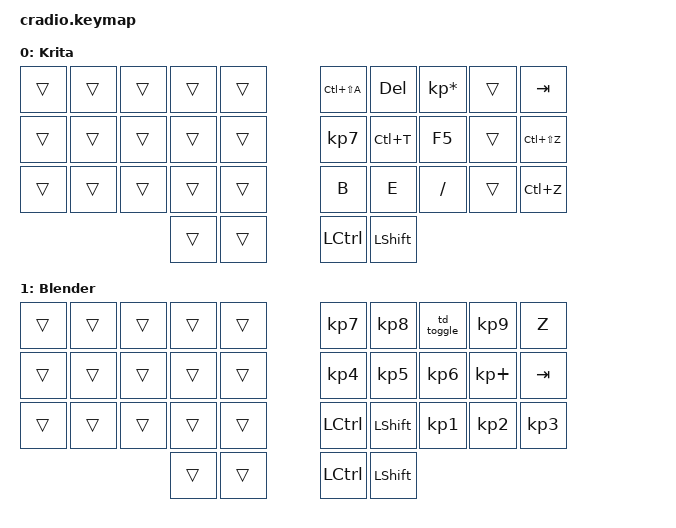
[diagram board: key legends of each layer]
// Copyright (c) 2022 The ZMK Contributors
// SPDX-License-Identifier: MIT

#include <behaviors.dtsi>
#include <dt-bindings/zmk/keys.h>
#include <dt-bindings/zmk/bt.h>

#define KRIT 0
#define BLND 1
#define DESEL &kp LC(LS(A))
#define FLIP &kp KP_MULTIPLY

/ {
    behaviors {
        // Double-tap I to toggle between Krita and Blender layers
        td_toggle: tap_dance_toggle {
            compatible = "zmk,behavior-tap-dance";
            #binding-cells = <0>;
            tapping-term-ms = <200>;
            bindings = <&kp I>, <&tog BLND>;
        };
    };

    keymap {
        compatible = "zmk,keymap";

        krita_layer {
            display-name = "Krita";
            bindings = <
        //╭──────────┬──────────┬──────────┬──────────┬──────────╮   ╭──────────┬──────────┬──────────┬──────────┬──────────╮
            &trans     &trans     &trans     &trans     &trans         DESEL      &kp DEL    FLIP       &trans     &kp TAB
        //├──────────┼──────────┼──────────┼──────────┼──────────┤   ├──────────┼──────────┼──────────┼──────────┼──────────┤
            &trans     &trans     &trans     &trans     &trans         &kp KP_N7  &kp LC(T)  &kp F5     &trans     &kp LC(LS(Z)) 
        //├──────────┼──────────┼──────────┼──────────┼──────────┤   ├──────────┼──────────┼──────────┼──────────┼──────────┤
            &trans     &trans     &trans     &trans     &trans         &kp B      &kp E      &kp SLASH  &trans  &kp LC(Z) 
        //╰──────────┴──────────┴──────────┼──────────┼──────────┤   ├──────────┼──────────┼──────────┴──────────┴──────────╯
                                             &trans     &trans         &kp LCTRL  &kp LSHFT
        //                                 ╰──────────┴──────────╯   ╰──────────┴──────────╯
            >;
        };

        // ─────────────────────────────────────────────────────
        // BLENDER LAYER (double-tap I to toggle, again to return)
        //
        //   KP7=top    KP8=rot↑   I(dbl)=exit  KP9=opposite  Z=xray
        //   KP4=rot←   KP5=persp  KP6=rot→     KP-=zoom out  Tab=edit mode
        //   CTRL       SHFT       KP1=front     KP2=rot↓      KP3=right
        //                         CTRL          SHFT
        //
        // Blender numpad reference:
        //   KP1=front  KP3=right  KP7=top
        //   KP2/4/6/8 = rotate view
        //   KP5 = toggle ortho/perspective
        //   KP9 = opposite view
        //   KP+ / KP- = zoom in / out
        // ─────────────────────────────────────────────────────
        blender_layer {
            display-name = "Blender";
            bindings = <
        //╭──────────┬──────────┬──────────┬──────────┬──────────╮   ╭──────────┬──────────┬──────────┬──────────┬──────────╮
            &trans     &trans     &trans     &trans     &trans         &kp KP_N7  &kp KP_N8  &td_toggle &kp KP_N9  &kp Z
        //├──────────┼──────────┼──────────┼──────────┼──────────┤   ├──────────┼──────────┼──────────┼──────────┼──────────┤
            &trans     &trans     &trans     &trans     &trans         &kp KP_N4  &kp KP_N5  &kp KP_N6  &kp KP_PLUS &kp TAB
        //├──────────┼──────────┼──────────┼──────────┼──────────┤   ├──────────┼──────────┼──────────┼──────────┼──────────┤
            &trans     &trans     &trans     &trans     &trans         &kp LCTRL  &kp LSHFT  &kp KP_N1  &kp KP_N2  &kp KP_N3
        //╰──────────┴──────────┴──────────┼──────────┼──────────┤   ├──────────┼──────────┼──────────┴──────────┴──────────╯
                                             &trans     &trans         &kp LCTRL  &kp LSHFT
        //                                 ╰──────────┴──────────╯   ╰──────────┴──────────╯
            >;
        };
    };
};
